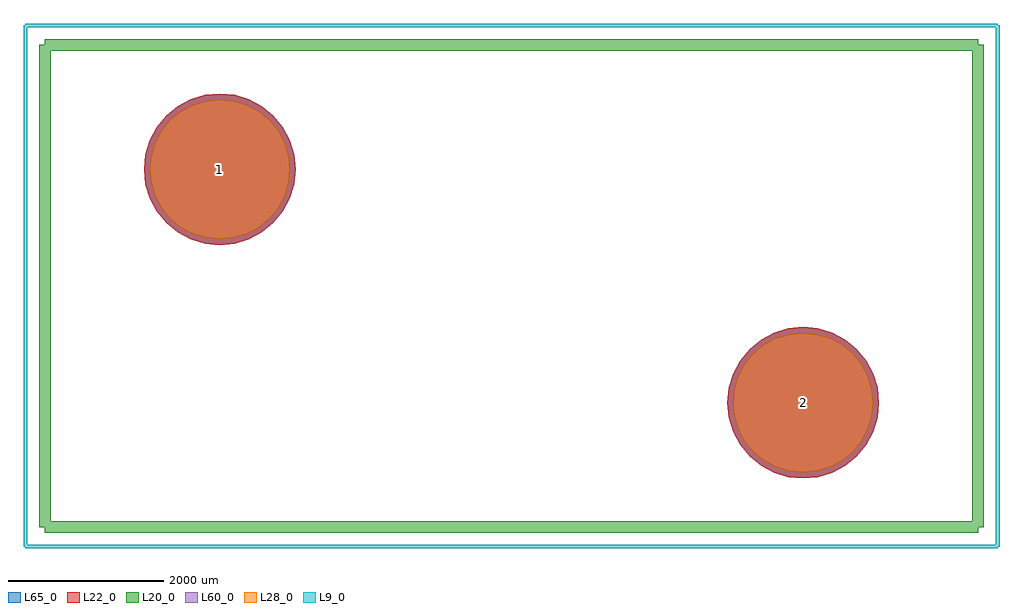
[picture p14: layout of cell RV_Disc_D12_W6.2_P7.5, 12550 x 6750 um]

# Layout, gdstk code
import gdstk
lib = gdstk.Library(unit=1e-6, precision=1e-09)
def P(c, l, *ps):  # polygons
    for p in ps: c.add(gdstk.Polygon(p, *l))
L9_0 = (9, 0)
L20_0 = (20, 0)
L22_0 = (22, 0)
L28_0 = (28, 0)
L60_0 = (60, 0)
L65_0 = (65, 0)

rv_disc_d12_w6_2_p7_5 = lib.new_cell('RV_Disc_D12_W6.2_P7.5')
P(rv_disc_d12_w6_2_p7_5, L22_0, [(8475,-3000),(8456.266,-2809.787),(8400.783,-2626.884),(8310.683,-2458.319),(8189.429,-2310.571),(8041.681,-2189.317),(7873.116,-2099.217),(7690.213,-2043.734),(7500,-2025),(7309.787,-2043.734),(7126.884,-2099.217),(6958.319,-2189.317),(6810.571,-2310.571),(6689.317,-2458.319),(6599.217,-2626.884),(6543.734,-2809.787),(6525,-3000),(6543.734,-3190.213),(6599.217,-3373.116),(6689.317,-3541.681),(6810.571,-3689.429),(6958.319,-3810.683),(7126.884,-3900.783),(7309.787,-3956.266),(7500,-3975),(7690.213,-3956.266),(7873.116,-3900.783),(8041.681,-3810.683),(8189.429,-3689.429),(8310.683,-3541.681),(8400.783,-3373.116),(8456.266,-3190.213)],
  [(975,0),(956.266,190.213),(900.783,373.116),(810.683,541.681),(689.429,689.429),(541.681,810.683),(373.116,900.783),(190.213,956.266),(0,975),(-190.213,956.266),(-373.116,900.783),(-541.681,810.683),(-689.429,689.429),(-810.683,541.681),(-900.783,373.116),(-956.266,190.213),(-975,0),(-956.266,-190.213),(-900.783,-373.116),(-810.683,-541.681),(-689.429,-689.429),(-541.681,-810.683),(-373.116,-900.783),(-190.213,-956.266),(0,-975),(190.213,-956.266),(373.116,-900.783),(541.681,-810.683),(689.429,-689.429),(810.683,-541.681),(900.783,-373.116),(956.266,-190.213)])
P(rv_disc_d12_w6_2_p7_5, L28_0, [(8400,-3000),(8382.707,-2824.419),(8331.492,-2655.585),(8248.323,-2499.987),(8136.396,-2363.604),(8000.013,-2251.677),(7844.415,-2168.508),(7675.581,-2117.293),(7500,-2100),(7324.419,-2117.293),(7155.585,-2168.508),(6999.987,-2251.677),(6863.604,-2363.604),(6751.677,-2499.987),(6668.508,-2655.585),(6617.293,-2824.419),(6600,-3000),(6617.293,-3175.581),(6668.508,-3344.415),(6751.677,-3500.013),(6863.604,-3636.396),(6999.987,-3748.323),(7155.585,-3831.492),(7324.419,-3882.707),(7500,-3900),(7675.581,-3882.707),(7844.415,-3831.492),(8000.013,-3748.323),(8136.396,-3636.396),(8248.323,-3500.013),(8331.492,-3344.415),(8382.707,-3175.581)],
  [(900,0),(882.707,175.581),(831.492,344.415),(748.323,500.013),(636.396,636.396),(500.013,748.323),(344.415,831.492),(175.581,882.707),(0,900),(-175.581,882.707),(-344.415,831.492),(-500.013,748.323),(-636.396,636.396),(-748.323,500.013),(-831.492,344.415),(-882.707,175.581),(-900,0),(-882.707,-175.581),(-831.492,-344.415),(-748.323,-500.013),(-636.396,-636.396),(-500.013,-748.323),(-344.415,-831.492),(-175.581,-882.707),(0,-900),(175.581,-882.707),(344.415,-831.492),(500.013,-748.323),(636.396,-636.396),(748.323,-500.013),(831.492,-344.415),(882.707,-175.581)])
P(rv_disc_d12_w6_2_p7_5, L60_0, [(8400,-3000),(8382.707,-2824.419),(8331.492,-2655.585),(8248.323,-2499.987),(8136.396,-2363.604),(8000.013,-2251.677),(7844.415,-2168.508),(7675.581,-2117.293),(7500,-2100),(7324.419,-2117.293),(7155.585,-2168.508),(6999.987,-2251.677),(6863.604,-2363.604),(6751.677,-2499.987),(6668.508,-2655.585),(6617.293,-2824.419),(6600,-3000),(6617.293,-3175.581),(6668.508,-3344.415),(6751.677,-3500.013),(6863.604,-3636.396),(6999.987,-3748.323),(7155.585,-3831.492),(7324.419,-3882.707),(7500,-3900),(7675.581,-3882.707),(7844.415,-3831.492),(8000.013,-3748.323),(8136.396,-3636.396),(8248.323,-3500.013),(8331.492,-3344.415),(8382.707,-3175.581)],
  [(900,0),(882.707,175.581),(831.492,344.415),(748.323,500.013),(636.396,636.396),(500.013,748.323),(344.415,831.492),(175.581,882.707),(0,900),(-175.581,882.707),(-344.415,831.492),(-500.013,748.323),(-636.396,636.396),(-748.323,500.013),(-831.492,344.415),(-882.707,175.581),(-900,0),(-882.707,-175.581),(-831.492,-344.415),(-748.323,-500.013),(-636.396,-636.396),(-500.013,-748.323),(-344.415,-831.492),(-175.581,-882.707),(0,-900),(175.581,-882.707),(344.415,-831.492),(500.013,-748.323),(636.396,-636.396),(748.323,-500.013),(831.492,-344.415),(882.707,-175.581)])
P(rv_disc_d12_w6_2_p7_5, L65_0, [(8475,-3000),(8456.266,-2809.787),(8400.783,-2626.884),(8310.683,-2458.319),(8189.429,-2310.571),(8041.681,-2189.317),(7873.116,-2099.217),(7690.213,-2043.734),(7500,-2025),(7309.787,-2043.734),(7126.884,-2099.217),(6958.319,-2189.317),(6810.571,-2310.571),(6689.317,-2458.319),(6599.217,-2626.884),(6543.734,-2809.787),(6525,-3000),(6543.734,-3190.213),(6599.217,-3373.116),(6689.317,-3541.681),(6810.571,-3689.429),(6958.319,-3810.683),(7126.884,-3900.783),(7309.787,-3956.266),(7500,-3975),(7690.213,-3956.266),(7873.116,-3900.783),(8041.681,-3810.683),(8189.429,-3689.429),(8310.683,-3541.681),(8400.783,-3373.116),(8456.266,-3190.213)],
  [(975,0),(956.266,190.213),(900.783,373.116),(810.683,541.681),(689.429,689.429),(541.681,810.683),(373.116,900.783),(190.213,956.266),(0,975),(-190.213,956.266),(-373.116,900.783),(-541.681,810.683),(-689.429,689.429),(-810.683,541.681),(-900.783,373.116),(-956.266,190.213),(-975,0),(-956.266,-190.213),(-900.783,-373.116),(-810.683,-541.681),(-689.429,-689.429),(-541.681,-810.683),(-373.116,-900.783),(-190.213,-956.266),(0,-975),(190.213,-956.266),(373.116,-900.783),(541.681,-810.683),(689.429,-689.429),(810.683,-541.681),(900.783,-373.116),(956.266,-190.213)])
rv_disc_d12_w6_2_p7_5.add(gdstk.FlexPath([(-2250,1600),(-2250,-4600)], 149.998, ends="flush", simple_path=True, layer=20, datatype=0))  # L20_0
rv_disc_d12_w6_2_p7_5.add(gdstk.FlexPath([(9750,1600),(9750,-4600)], 149.998, ends="flush", simple_path=True, layer=20, datatype=0))  # L20_0
rv_disc_d12_w6_2_p7_5.add(gdstk.FlexPath([(-2250,1600),(9750,1600)], 149.998, ends="flush", simple_path=True, layer=20, datatype=0))  # L20_0
rv_disc_d12_w6_2_p7_5.add(gdstk.FlexPath([(-2250,-4600),(9750,-4600)], 149.998, ends="flush", simple_path=True, layer=20, datatype=0))  # L20_0
rv_disc_d12_w6_2_p7_5.add(gdstk.FlexPath([(-2500,1850),(-2500,-4850)], 50, ends="flush", simple_path=True, layer=9, datatype=0))  # L9_0
rv_disc_d12_w6_2_p7_5.add(gdstk.FlexPath([(10000,1850),(10000,-4850)], 50, ends="flush", simple_path=True, layer=9, datatype=0))  # L9_0
rv_disc_d12_w6_2_p7_5.add(gdstk.FlexPath([(-2500,1850),(10000,1850)], 50, ends="flush", simple_path=True, layer=9, datatype=0))  # L9_0
rv_disc_d12_w6_2_p7_5.add(gdstk.FlexPath([(-2500,-4850),(10000,-4850)], 50, ends="flush", simple_path=True, layer=9, datatype=0))  # L9_0
rv_disc_d12_w6_2_p7_5.add(gdstk.Label('2', (7500,-3000), layer=28, texttype=0))
rv_disc_d12_w6_2_p7_5.add(gdstk.Label('1', (0,0), layer=28, texttype=0))
rv_disc_d12_w6_2_p7_5.add(gdstk.Label('type', (3750,2600), layer=9, texttype=0))
rv_disc_d12_w6_2_p7_5.add(gdstk.Label('devicename', (3750,-5600), layer=9, texttype=0))

lib.write_gds('RV_Disc_D12_W6.2_P7.5.gds')
